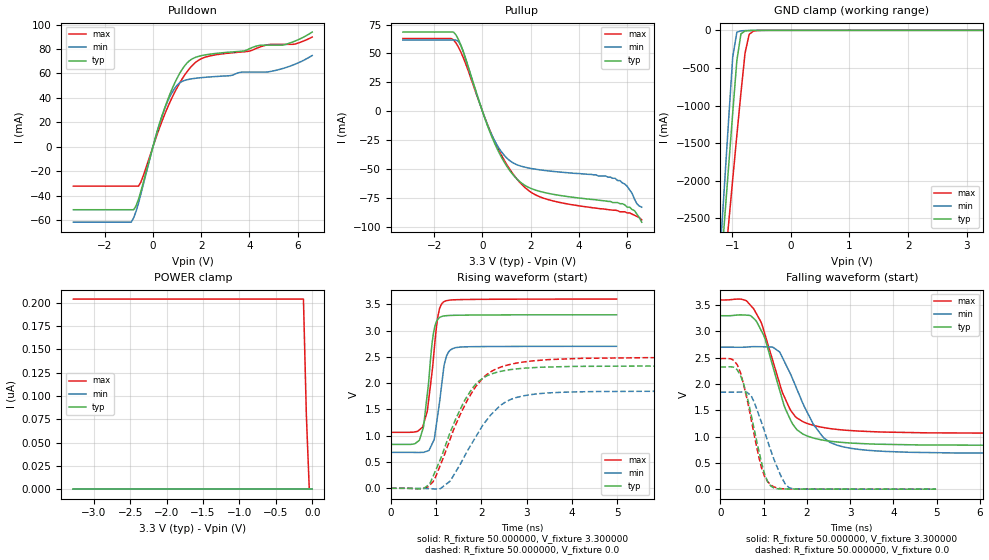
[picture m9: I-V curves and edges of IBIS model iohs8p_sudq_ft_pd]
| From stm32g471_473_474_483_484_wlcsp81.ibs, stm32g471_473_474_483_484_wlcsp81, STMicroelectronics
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|   Model iohs8p_sudq_ft_pd
[Model]  iohs8p_sudq_ft_pd
Model_type I/O
Polarity   Non-Inverting
Enable   Active-Low
Vinl =   0.990000V
Vinh =   2.310000V
Vmeas =  1.650000V
Cref =   30.000000pF
Rref =   100.000000M
Vref =   0.0V
C_comp   2.036400pF   1.984000pF   2.082300pF
[Temperature Range]   25.000000   -40.000000   0.125000k
[Pullup Reference]   3.300000V   2.700000V   3.600000V
[Pulldown Reference]   0.0V   0.0V   0.0V
[POWER Clamp Reference]   3.300000V   2.700000V   3.600000V
[GND Clamp Reference]   0.0V   0.0V   0.0V
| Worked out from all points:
|   slope of the pulldown table from 0 to 0.495 V, typ, clamps not added: 15.4 ohm
|   slope of the pullup table from 0 to 0.495 V, typ, clamps not added: 18.1 ohm
|   GND clamp passes 1 mA (typ) near -0.60 V on its own axis
|   rising waveform, R_fixture 50.000000, V_fixture 3.300000: 20-80 % time 175ps typ, 184ps min, 191ps max; typ from 0.835 V to 3.3 V
|   rising waveform, R_fixture 50.000000, V_fixture 0.0: 20-80 % time 717ps typ, 829ps min, 807ps max; typ from 0 V to 2.32 V
|   falling waveform, R_fixture 50.000000, V_fixture 3.300000: 20-80 % time 563ps typ, 726ps min, 604ps max; typ from 3.3 V to 0.835 V
|   falling waveform, R_fixture 50.000000, V_fixture 0.0: 20-80 % time 381ps typ, 476ps min, 387ps max; typ from 2.32 V to 0 V
[Pulldown]
|Voltage   I(typ)   I(min)   I(max)
-3.3V     -51.62mA   -61.83mA   -32.32mA
-900mV    -51.62mA   -61.83mA   -32.32mA
-800mV    -51.62mA   -58.24mA   -32.32mA
-500mV    -36.51mA   -38.71mA   -28.96mA
400mV     26.66mA    26.58mA    22.18mA
800mV     47.72mA    44.74mA    40.6mA
1.1V      59.79mA    52.18mA    51.93mA
1.5V      70.22mA    55.24mA    63.66mA
2.1V      74.97mA    56.75mA    72.88mA
4.9V      83.19mA    61.75mA    83.83mA
5.9V      86.64mA    67.67mA    84.15mA
6.6V      93.9mA     74.68mA    89.84mA
[Pullup]
|Voltage   I(typ)   I(min)   I(max)
-3.3V     68.52mA    61.65mA    62.95mA
-1.1V     66.11mA    61.65mA    59.23mA
-800mV    51.99mA    51.74mA    46.62mA
100mV     -6.166mA   -5.972mA   -5.649mA
500mV     -27.53mA   -25.31mA   -25.83mA
1V        -47.29mA   -40.29mA   -45.86mA
1.6V      -61.83mA   -47.51mA   -62.73mA
2.7V      -70.92mA   -51.53mA   -76.33mA
5.5V      -79mA      -58mA      -85.6mA
6V        -83mA      -65mA      -88mA
6.3V      -86mA      -76mA      -90mA
6.6V      -96mA      -83mA      -94mA
[GND_clamp]
|Voltage   I(typ)   I(min)   I(max)
-3.3V     -9.812A    -9.822A    -9.937A
-1.2V     -3.251A    -2.905A    -3.763A
-1.13V    -2.527A    -2.046A    -3.165A
-1.06V    -1.808A    -1.191A    -2.57A
-990mV    -1.097A    -352.7mA   -1.979A
-920mV    -404.2mA   -25.09mA   -1.398A
-850mV    -46.54mA   -6.516mA   -832.3mA
-780mV    -8.509mA   -3.59mA    -302.4mA
-710mV    -3.395mA   -1.728mA   -53.82mA
-640mV    -1.602mA   -565.6uA   -11.73mA
-360mV    -11.48uA   -7.86uA    -95.15uA
3.28V     87.11uA    57.76uA    110.6uA
[POWER_clamp]
|Voltage   I(typ)   I(min)   I(max)
-3.28V    0A         0A         204.1nA
-120mV    0A         0A         204.1nA
-80mV     0A         0A         79.47nA
-40mV     0A         0A         0A
0V        0A         0A         0A
[Ramp]
| variable   typ   min   max
dV/dt_r  1.39404/0.71623n   1.10664/0.82808n   1.48980/0.80604n
dV/dt_f  1.47856/0.56290n   1.20977/0.72558n   1.52064/0.60390n
R_load = 50.000000
[Rising Waveform]
R_fixture= 50.000000
V_fixture= 3.300000
V_fixture_min= 2.700000
V_fixture_max= 3.600000
|time   V(typ)   V(min)   V(max)
0s        834.6mV    683.1mV    1.064V
530.5ps   847.8mV    681.9mV    1.073V
700.7ps   1.109V     682.7mV    1.164V
810.8ps   1.843V     710.4mV    1.512V
940.9ps   2.953V     898.7mV    2.482V
1.041ns   3.22V      1.43V      3.279V
1.171ns   3.276V     2.317V     3.548V
1.281ns   3.286V     2.599V     3.576V
1.532ns   3.291V     2.686V     3.588V
4.985ns   3.299V     2.699V     3.598V
[Rising Waveform]
R_fixture= 50.000000
V_fixture= 0.0
V_fixture_min= 0.0
V_fixture_max= 0.0
|time   V(typ)   V(min)   V(max)
0s        24.38uV    -1.233uV   39.89uV
734.1ps   1.038mV    -3.343mV   -311.6uV
934.3ps   232.5mV    -11.62mV   128.5mV
1.101ns   566.2mV    -1.63mV    458.9mV
1.301ns   1.045V     130.8mV    917.4mV
1.602ns   1.625V     568.3mV    1.524V
1.902ns   2.007V     1.016V     1.962V
2.402ns   2.219V     1.563V     2.296V
2.803ns   2.272V     1.732V     2.385V
16.62ns   2.324V     1.844V     2.484V
[Falling Waveform]
R_fixture= 50.000000
V_fixture= 3.300000
V_fixture_min= 2.700000
V_fixture_max= 3.600000
|time   V(typ)   V(min)   V(max)
0s        3.299V     2.699V     3.598V
600.6ps   3.31V      2.702V     3.584V
834.2ps   3.19V      2.71V      3.334V
1.034ns   2.854V     2.708V     2.929V
1.368ns   1.884V     2.609V     2.011V
1.768ns   1.13V      1.901V     1.354V
2.336ns   937.9mV    1.029V     1.179V
2.936ns   881.6mV    788.8mV    1.119V
4.371ns   844.5mV    701.6mV    1.077V
16.62ns   834.6mV    683.1mV    1.064V
[Falling Waveform]
R_fixture= 50.000000
V_fixture= 0.0
V_fixture_min= 0.0
V_fixture_max= 0.0
|time   V(typ)   V(min)   V(max)
0s        2.324V     1.844V     2.484V
310.3ps   2.319V     1.844V     2.448V
450.5ps   2.185V     1.846V     2.243V
710.7ps   1.411V     1.774V     1.327V
951ps     508.8mV    1.265V     404.3mV
1.091ns   142.8mV    917.8mV    144.7mV
1.181ns   50.29mV    697.5mV    71.33mV
1.491ns   3.865mV    107.8mV    5.599mV
1.662ns   2.716mV    11.49mV    3.354mV
4.985ns   24.38uV    -1.233uV   39.89uV
